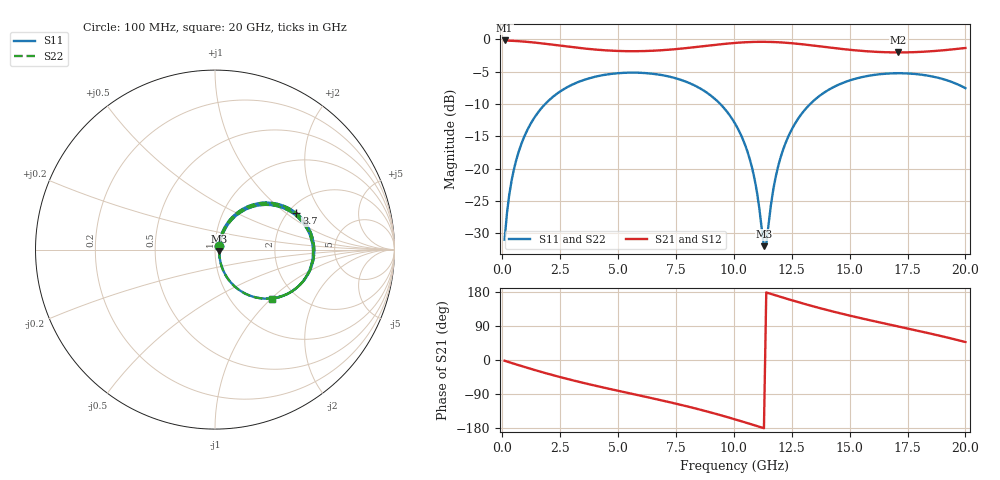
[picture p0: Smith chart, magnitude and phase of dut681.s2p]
! Touchstone file exported from HFSS 2026.1.0
!  File:  C:/ffzhzh/LocalFiles/Ansys_Project_Files/temp_train_TSV_RDL_681_1783133769_35180.aedt
!  Generated:  11:10:06 AM Jul  4, 2026
!  Design:  TSV_RDL
!  Project:  temp_train_TSV_RDL_681_1783133769_35180
! Variables:
!  h_bsmrdl = 3.23um
!  h_ox = 20um
!  h_rdl = 5um
!  h_sub = 77.67um
!  h_tmrdl = 4.62um
!  h_tsv = 77.67um
!  h_via = 3um
!  l_bsmrdl = 896.96um
!  l_sub = 5500.3um
!  l_tmrdl = 561.03um
!  m_sub = 200um
!  pitch = 59.63um
!  r_tsv = 7.46um
!  s_tmrdl = 10um
!  w_bsmrdl = 25.25um
!  w_sub = 500um
!  w_tmrdl = 29.85um
!  x_tsv_center1 = 575.955um
!  x_tsv_center2 = 1498.165um
!  x_tsv_center3 = 2089.045um
!  x_tsv_center4 = 3011.255um
!  x_tsv_center5 = 3602.135um
!  x_tsv_center6 = 4524.345um
# GHz S MA R 50.000000
! Terminal data exported
! Port[1] = TM_RDL1_1_T1
! Port[2] = TM_RDL5_1_T1
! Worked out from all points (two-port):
!   200 points, 100 MHz to 20 GHz, reference 50 ohm
!   highest |S21| = -0.17 dB at 100 MHz (marker M1); lowest = -2.0 dB at 17.1 GHz (marker M2)
!   |S21| within 3 dB of the highest: start of sweep to end of sweep
!   lowest |S11| = -32.0 dB at 11.3 GHz (marker M3), VSWR 1.05, Z = 52.4 - j0.838 ohm
!   |S11| at or under -10 dB: start of sweep to 1.854 GHz; 9.414 GHz to 13.3 GHz (3.883 GHz wide, 34.2 % of centre)
!   |S22| runs from -32.1 to -5.1 dB; largest |S21 - S12| = 1.7e-14
!   S11 on the Smith chart (normalised r, x): 100 MHz: 1.04, +0.04; 3.7 GHz: 2.21, +1.19; 20 GHz: 1.53, -1.01
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0.1  0.02822 44.6  0.9804 -2.0  0.9804 -2.0  0.02822 44.6
! Gamma 0 0 0 0
! Port Impedance 50 0 50 0
0.3  0.06276 64.1  0.9768 -5.9  0.9768 -5.9  0.06276 64.1
0.5  0.09837 67.0  0.9728 -9.7  0.9728 -9.7  0.09838 67.0
1.1  0.2021 62.2  0.9556 -21.0  0.9556 -21.0  0.2021 62.2
2.1  0.3487 47.4  0.9127 -38.6  0.9127 -38.6  0.3487 47.4
3.5  0.4837 26.9  0.8509 -60.4  0.8509 -60.4  0.4837 26.9
3.7  0.4966 24.1  0.8438 -63.3  0.8438 -63.3  0.4966 24.1
5.3  0.5515 3.0  0.8106 -85.3  0.8106 -85.3  0.5515 3.0
6.8  0.5324 -16.3  0.8219 -105.4  0.8219 -105.4  0.5325 -16.4
8.8  0.391 -44.3  0.89 -135.1  0.89 -135.1  0.391 -44.3
10.1  0.2156 -63.2  0.9396 -157.5  0.9396 -157.5  0.2156 -63.3
10.8  0.09939 -68.3  0.9547 -170.5  0.9547 -170.5  0.09933 -68.5
11  0.06561 -64.4  0.9565 -174.3  0.9565 -174.3  0.0655 -64.8
11.3  0.02517 -18.5  0.957 -179.9  0.957 -179.9  0.02481 -18.8
11.4  0.02629 20.4  0.9566 178.2  0.9566 178.2  0.02592 20.7
11.8  0.08517 62.9  0.9519 170.7  0.9519 170.7  0.08503 63.1
12.1  0.1357 63.7  0.9454 165.1  0.9454 165.1  0.1356 63.8
13.4  0.3295 47.3  0.8971 142.1  0.8971 142.1  0.3294 47.4
14.9  0.4744 25.9  0.834 118.6  0.834 118.6  0.4743 25.9
16.7  0.5445 2.5  0.7938 93.8  0.7938 93.8  0.5445 2.5
17.1  0.547 -2.5  0.7922 88.5  0.7922 88.5  0.547 -2.5
20  0.4196 -40.6  0.8573 47.5  0.8573 47.5  0.4196 -40.6
